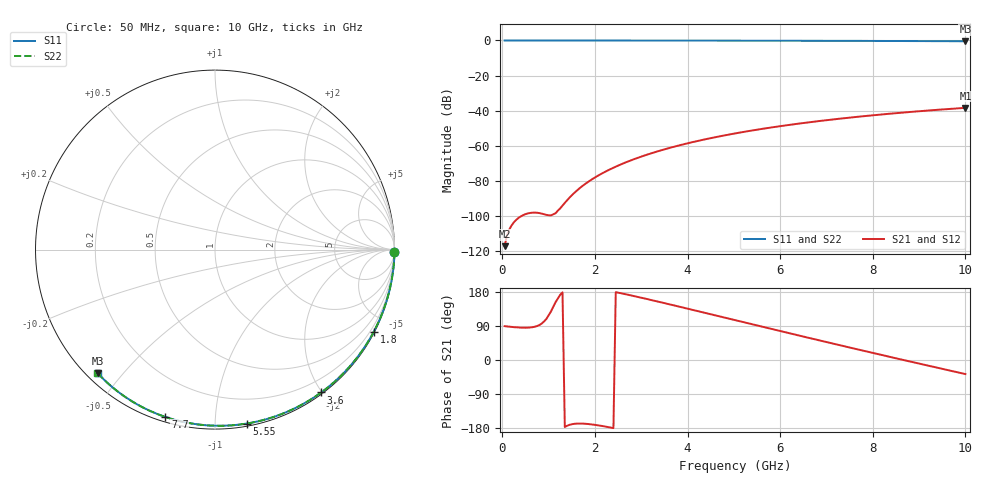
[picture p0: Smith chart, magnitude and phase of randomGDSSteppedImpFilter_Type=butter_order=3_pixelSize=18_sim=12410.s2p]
! freq	dB(S11)	phase(S11)	dB(S12)	phase(S12)
!  dB(S21)	phase(S21)	dB(S22)	phase(S22)
!S-par simulation data
#  GHz  S  DB  R 50
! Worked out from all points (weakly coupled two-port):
!   200 points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, 50 MHz to 10 GHz, reference 50 ohm
!   highest |S21| = -38.33 dB at 10 GHz (marker M1); lowest = -117.0 dB at 50 MHz (marker M2)
!   lowest |S11| = -0.5 dB at 10 GHz (marker M3), VSWR 38.58, Z = 1.54 - j21.5 ohm
!   |S11| at or under -10 dB: nowhere
!   |S22| runs from -0.5 to 0.0 dB; largest |S21 - S12| = 0
!   S11 on the Smith chart (normalised r, x): 50 MHz: open; 1.8 GHz: 0.04, -4.12; 3.6 GHz: 0.02, -1.99; 5.55 GHz: 0.02, -1.20; 7.7 GHz: 0.02, -0.75; 10 GHz: 0.03, -0.43
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0.05  -0.00 -0.8  -117.02 89.3  -117.02 89.3  -0.00 -0.8
0.9  -0.02 -13.8  -98.86 101.5  -98.86 101.5  -0.02 -13.8
1.75  -0.03 -26.6  -82.40 -167.9  -82.40 -167.9  -0.03 -26.6
1.8  -0.03 -27.3  -81.42 -168.3  -81.42 -168.3  -0.03 -27.4
1.85  -0.04 -28.1  -80.50 -168.9  -80.50 -168.9  -0.04 -28.1
1.9  -0.04 -28.8  -79.62 -169.5  -79.62 -169.5  -0.04 -28.8
2.05  -0.04 -31.0  -77.17 -172.0  -77.17 -172.0  -0.04 -31.1
2.25  -0.04 -34.0  -74.30 -176.2  -74.30 -176.2  -0.04 -34.0
2.45  -0.05 -36.9  -71.78 179.0  -71.78 179.0  -0.05 -37.0
2.65  -0.05 -39.8  -69.52 173.9  -69.52 173.9  -0.05 -39.9
3  -0.06 -44.9  -66.07 164.4  -66.07 164.4  -0.06 -44.9
3.4  -0.07 -50.6  -62.71 153.0  -62.71 153.0  -0.07 -50.7
3.6  -0.07 -53.4  -61.21 147.3  -61.21 147.3  -0.07 -53.5
4.3  -0.09 -63.1  -56.69 126.7  -56.69 126.7  -0.09 -63.2
5.05  -0.11 -73.2  -52.77 104.5  -52.77 104.5  -0.11 -73.3
5.55  -0.13 -79.7  -50.54 89.7  -50.54 89.7  -0.13 -79.9
6.1  -0.15 -86.8  -48.38 73.5  -48.38 73.5  -0.15 -86.9
6.7  -0.18 -94.3  -46.30 56.0  -46.30 56.0  -0.18 -94.5
7.7  -0.24 -106.5  -43.35 27.2  -43.35 27.2  -0.24 -106.7
8.35  -0.29 -114.2  -41.71 8.8  -41.71 8.8  -0.29 -114.4
9.15  -0.36 -123.5  -39.94 -13.6  -39.94 -13.6  -0.36 -123.8
10  -0.45 -133.4  -38.33 -37.1  -38.33 -37.1  -0.45 -133.6
